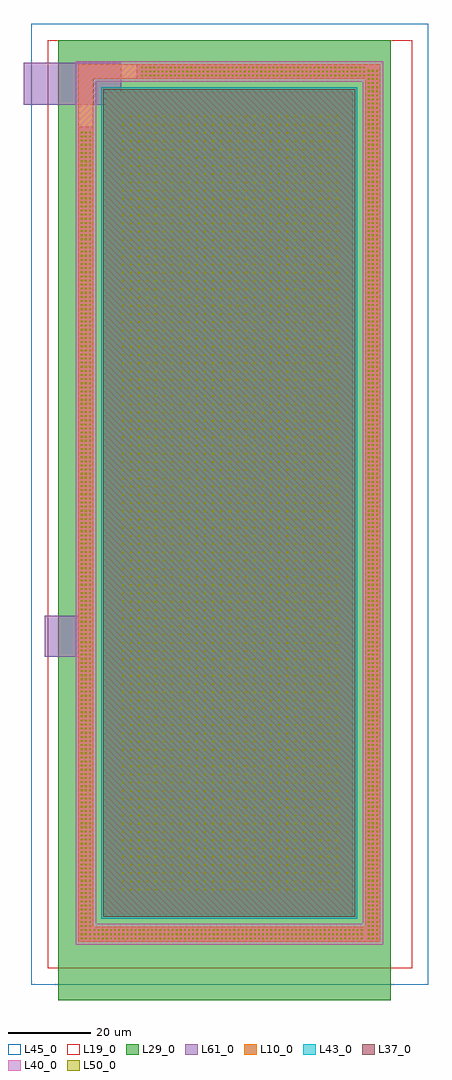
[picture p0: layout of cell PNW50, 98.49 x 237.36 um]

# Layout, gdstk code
from math import pi, radians
import gdstk
lib = gdstk.Library(unit=1e-6, precision=1e-09)
def R(c, l, rs):  # rectangles x0, y0, x1, y1
    for r in rs: c.add(gdstk.rectangle(r[:2], r[2:], *l))
def P(c, l, *ps):  # polygons
    for p in ps: c.add(gdstk.Polygon(p, *l))
L10_0 = (10, 0)
L19_0 = (19, 0)
L29_0 = (29, 0)
L37_0 = (37, 0)
L40_0 = (40, 0)
L43_0 = (43, 0)
L45_0 = (45, 0)
L50_0 = (50, 0)
L61_0 = (61, 0)

contact_04 = lib.new_cell('contact_04')
R(contact_04, L50_0, [(0,0,0.4,0.4)])

pnw50 = lib.new_cell('PNW50')
R(pnw50, L10_0, [(20.995,13.755,24.595,227.155), (24.595,13.755,90.795,17.355), (90.795,13.755,94.395,227.155), (27.695,20.455,87.695,220.455), (24.595,223.555,90.795,227.155)])
R(pnw50, L19_0, [(13.53,7.23,102.135,232.92)])
R(pnw50, L29_0, [(16.035,-0.44,96.995,232.92)])
R(pnw50, L37_0, [(27.095,19.855,88.295,221.055)])
P(pnw50, L40_0, [(20.295,13.055),(20.295,227.855),(95.095,227.855),(95.095,120.435),(90.095,120.435),(90.095,222.855),(25.295,222.855),(25.295,18.055),(90.095,18.055),(90.095,120.435),(95.095,120.435),(95.095,13.055)])
R(pnw50, L43_0, [(26.595,19.355,88.795,221.555)])
R(pnw50, L45_0, [(9.53,3.23,106.135,236.92)])
R(pnw50, L61_0, [(20.995,13.755,24.595,211.89), (24.595,13.755,90.795,17.355), (90.795,13.755,94.395,227.155), (27.695,20.455,87.695,220.455), (12.855,83.055,24.595,93.055), (7.645,217.285,17.645,227.54), (17.645,217.285,27.695,227.54), (27.695,220.455,31.475,227.54), (35.245,223.555,90.795,227.155)])
r = gdstk.Reference(contact_04, (21.595,14.355)); r.repetition = gdstk.Repetition(3, 197, v1=(1,0), v2=(0,1)); pnw50.add(r)
r = gdstk.Reference(contact_04, (90.655,226.555), rotation=3*pi/2, x_reflection=True); r.repetition = gdstk.Repetition(3, 55, v1=(0,-1), v2=(-1,0)); pnw50.add(r)
r = gdstk.Reference(contact_04, (91.395,14.355)); r.repetition = gdstk.Repetition(3, 212, v1=(1,0), v2=(0,1)); pnw50.add(r)
r = gdstk.Reference(contact_04, (31.6,26.215)); r.repetition = gdstk.Repetition(27, 95, v1=(2,0), v2=(0,2)); pnw50.add(r)
r = gdstk.Reference(contact_04, (90.1,14.355), rotation=pi/2); r.repetition = gdstk.Repetition(3, 66, v1=(0,1), v2=(-1,0)); pnw50.add(r)

lib.write_gds('PNW50.gds')
